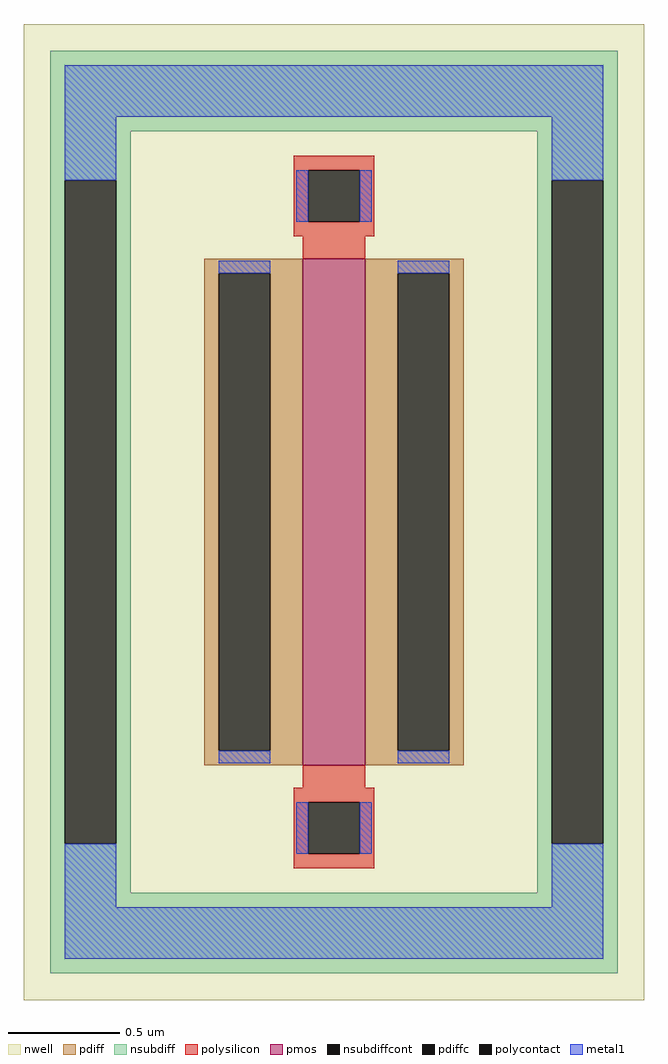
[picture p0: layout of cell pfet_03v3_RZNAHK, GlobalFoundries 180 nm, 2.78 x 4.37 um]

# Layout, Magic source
magic
tech gf180mcuD
magscale 1 10
<< nwell >>
rect -278 -437 278 437
<< pmos >>
rect -28 -227 28 227
<< pdiff >>
rect -116 214 -28 227
rect -116 -214 -103 214
rect -57 -214 -28 214
rect -116 -227 -28 -214
rect 28 214 116 227
rect 28 -214 57 214
rect 103 -214 116 214
rect 28 -227 116 -214
<< pdiffc >>
rect -103 -214 -57 214
rect 57 -214 103 214
<< nsubdiff >>
rect -254 341 254 413
rect -254 297 -182 341
rect -254 -297 -241 297
rect -195 -297 -182 297
rect 182 297 254 341
rect -254 -341 -182 -297
rect 182 -297 195 297
rect 241 -297 254 297
rect 182 -341 254 -297
rect -254 -413 254 -341
<< nsubdiffcont >>
rect -241 -297 -195 297
rect 195 -297 241 297
<< polysilicon >>
rect -36 306 36 319
rect -36 260 -23 306
rect 23 260 36 306
rect -36 247 36 260
rect -28 227 28 247
rect -28 -247 28 -227
rect -36 -260 36 -247
rect -36 -306 -23 -260
rect 23 -306 36 -260
rect -36 -319 36 -306
<< polycontact >>
rect -23 260 23 306
rect -23 -306 23 -260
<< metal1 >>
rect -241 354 241 400
rect -241 297 -195 354
rect -34 260 -23 306
rect 23 260 34 306
rect 195 297 241 354
rect -103 214 -57 225
rect -103 -225 -57 -214
rect 57 214 103 225
rect 57 -225 103 -214
rect -241 -354 -195 -297
rect -34 -306 -23 -260
rect 23 -306 34 -260
rect 195 -354 241 -297
rect -241 -400 241 -354
<< properties >>
string FIXED_BBOX -218 -377 218 377
string gencell pfet_03v3
string library gf180mcu
string parameters w 2.27 l 0.28 m 1 nf 1 diffcov 100 polycov 100 guard 1 glc 1 grc 1 gtc 0 gbc 0 tbcov 100 rlcov 100 topc 1 botc 1 poverlap 0 doverlap 1 lmin 0.28 wmin 0.22 class mosfet full_metal 1 compatible {pfet_03v3 pfet_05v0 pfet_06v0} ad {int((nf+1)/2) * W/nf * 0.18u} as {int((nf+2)/2) * W/nf * 0.18u} pd {2*int((nf+1)/2) * (W/nf + 0.18u)} ps {2*int((nf+2)/2) * (W/nf + 0.18u)} nrd {0.18u / W} nrs {0.18u / W} sa 0 sb 0 sd 0
<< end >>
